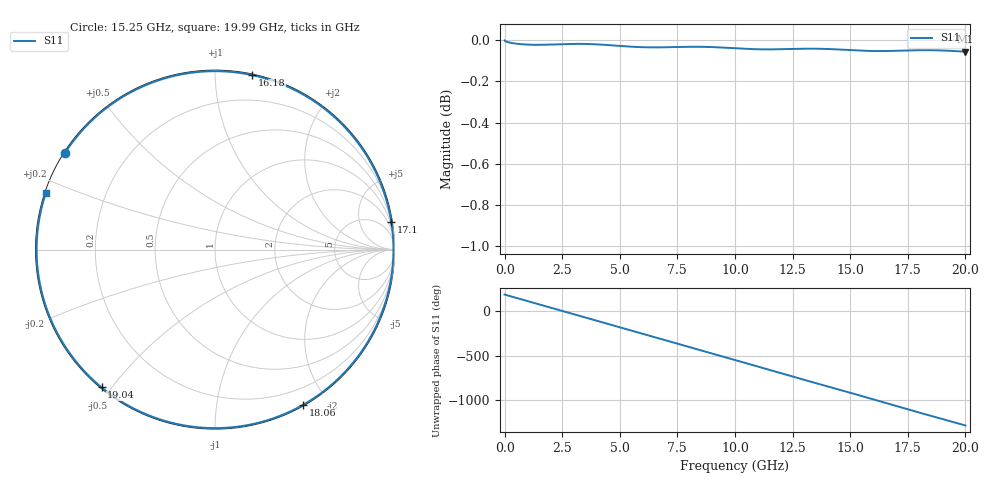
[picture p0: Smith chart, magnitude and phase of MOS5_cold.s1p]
# GHz S RI R 50
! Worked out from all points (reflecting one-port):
!   10001 points, 1 MHz to 20 GHz, reference 50 ohm
!   lowest |S11| = -0.1 dB at 20 GHz (marker M1), VSWR 313.80, Z = 0.164 + j8.46 ohm
!   phase of S11 starts at 180 deg and turns -1459 deg over the sweep
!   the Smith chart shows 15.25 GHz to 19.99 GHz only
!   S11 on the Smith chart (normalised r, x): 15.25 GHz: 0.00, +0.30; 16.18 GHz: 0.01, +1.24; 17.1 GHz: 0, +13; 18.06 GHz: 0.01, -1.72; 19.04 GHz: 0.00, -0.47; 19.99 GHz: 0.00, +0.16
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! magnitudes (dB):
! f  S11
! 1 MHz  0.0
! 157 MHz  0.0
! 341 MHz  0.0
! 609 MHz  0.0
! 917 MHz  0.0
! 1.547 GHz  0.0
! 2.501 GHz  0.0
! 3.113 GHz  0.0
! 3.657 GHz  0.0
! 4.207 GHz  0.0
! 5.001 GHz  0.0
! 5.641 GHz  0.0
! 6.185 GHz  0.0
! 7.501 GHz  0.0
! 8.695 GHz  0.0
! 10 GHz  0.0
! 11.19 GHz  0.0
! 12.5 GHz  0.0
! 13.69 GHz  0.0
! 15 GHz  0.0
! 15.25 GHz  0.0
! 16.18 GHz  -0.1
! 17.1 GHz  -0.1
! 17.5 GHz  0.0
! 18.06 GHz  0.0
! 19.04 GHz  0.0
! 19.99 GHz  -0.1
! 20 GHz  -0.1
